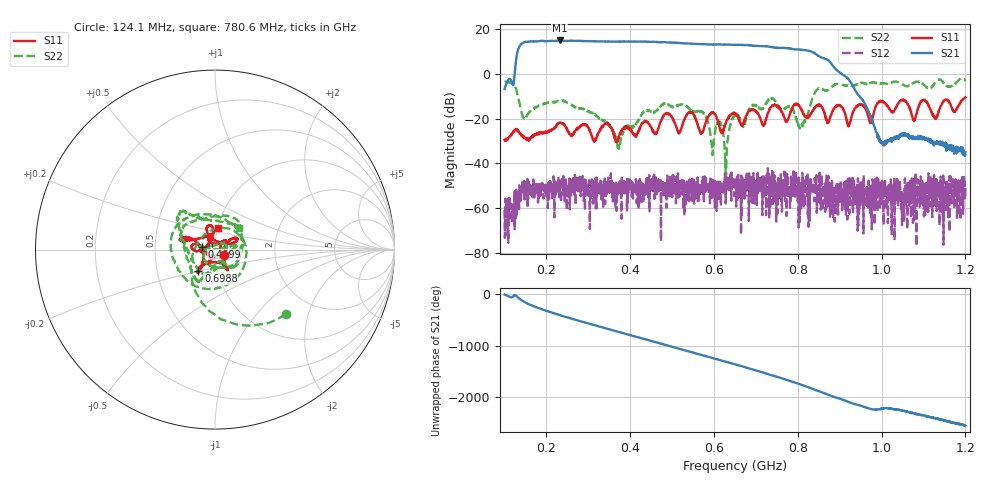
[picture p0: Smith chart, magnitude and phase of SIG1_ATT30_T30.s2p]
# Hz S DB R 50
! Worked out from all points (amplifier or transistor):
!   1601 points, 100 MHz to 1.2 GHz, reference 50 ohm
!   highest |S21| = 14.8 dB at 232 MHz (marker M1)
!   |S21| within 3 dB of that: 134.2 MHz to 737.9 MHz (603.7 MHz wide, 138 % of centre)
!   unconditionally stable (mu >= 1): start of sweep to end of sweep
!   at 282.9 MHz: K = 37.23, MAG = 14.8 dB, |S12| = -52.3 dB
!   at 650 MHz: K = 32.81, MAG = 13.0 dB, |S12| = -49.4 dB
!   at 1.2 GHz: K = 4061.42, MAG = -31.8 dB, |S12| = -49.5 dB
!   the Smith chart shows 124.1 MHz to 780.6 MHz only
!   S11 on the Smith chart (normalised r, x): 124.1 MHz: 1.10, -0.06; 469.9 MHz: 0.87, +0.03; 698.8 MHz: 0.81, -0.20; 780.6 MHz: 1.00, +0.25
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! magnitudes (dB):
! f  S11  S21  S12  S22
! 100 MHz  -29.5  -6.8  -60.8  -3.6
! 124.1 MHz  -25.1  0.0  -69.8  -5.4
! 147.4 MHz  -28.3  14.0  -56.1  -20.0
! 232 MHz  -21.8  14.8  -55.1  -12.0
! 283.6 MHz  -23.1  14.6  -46.4  -15.4
! 372.2 MHz  -27.9  14.3  -50.2  -31.8
! 467.1 MHz  -24.2  14.1  -47.0  -15.5
! 469.9 MHz  -22.7  14.1  -47.6  -14.9
! 543.4 MHz  -17.0  13.4  -50.0  -16.0
! 571.6 MHz  -26.4  13.2  -48.6  -17.2
! 596.4 MHz  -17.5  13.0  -47.3  -36.3
! 612.9 MHz  -23.5  13.0  -51.5  -21.3
! 628 MHz  -22.0  12.9  -57.5  -57.9
! 650 MHz  -17.8  12.8  -49.4  -18.8
! 698.8 MHz  -16.5  12.4  -49.8  -14.2
! 780.6 MHz  -18.2  11.2  -53.6  -14.8
! 806.8 MHz  -15.5  10.7  -53.0  -23.3
! 833.6 MHz  -17.1  9.8  -51.3  -11.8
! 920.9 MHz  -23.5  -2.4  -46.7  -5.2
! 1.017 GHz  -15.3  -29.5  -53.0  -4.4
! 1.129 GHz  -19.9  -31.3  -49.5  -3.8
! 1.2 GHz  -10.5  -35.0  -49.5  -3.3
